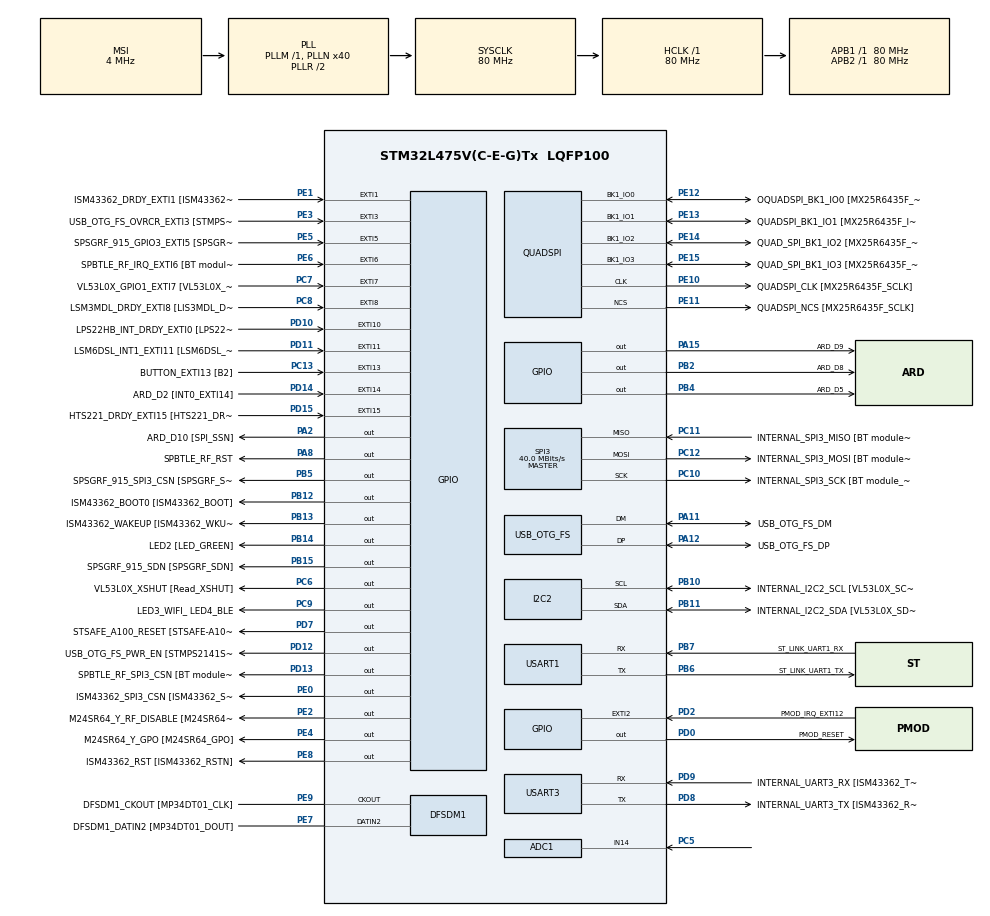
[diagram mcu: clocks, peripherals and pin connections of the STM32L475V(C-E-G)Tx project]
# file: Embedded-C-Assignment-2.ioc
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ADC1.Channel-3\#ChannelRegularConversion=ADC_CHANNEL_14
ADC1.NbrOfConversionFlag=1
ADC1.OffsetNumber-3\#ChannelRegularConversion=ADC_OFFSET_NONE
ADC1.Rank-3\#ChannelRegularConversion=1
ADC1.SamplingTime-3\#ChannelRegularConversion=ADC_SAMPLETIME_2CYCLES_5
ADC1.master=1
Mcu.Family=STM32L4
Mcu.Name=STM32L475V(C-E-G)Tx
Mcu.Package=LQFP100
NVIC.EXTI15_10_IRQn=true\:0\:0\:false\:false\:true\:true\:true\:true
NVIC.EXTI9_5_IRQn=true\:0\:0\:false\:false\:true\:true\:true\:true
NVIC.PriorityGroup=NVIC_PRIORITYGROUP_4
PA10.GPIO_Label=USB_OTG_FS_ID
PA10.Signal=USB_OTG_FS_ID
PA11.GPIO_Label=USB_OTG_FS_DM
PA11.Mode=Device_Only
PA11.Signal=USB_OTG_FS_DM
PA12.GPIO_Label=USB_OTG_FS_DP
PA12.Mode=Device_Only
PA12.Signal=USB_OTG_FS_DP
PA13\ (JTMS-SWDIO).GPIO_Label=SYS_JTMS_SWDIO
PA13\ (JTMS-SWDIO).Mode=Serial_Wire
PA13\ (JTMS-SWDIO).Signal=SYS_JTMS-SWDIO
PA14\ (JTCK-SWCLK).GPIO_Label=SYS_JTCK_SWCLK
PA14\ (JTCK-SWCLK).Mode=Serial_Wire
PA14\ (JTCK-SWCLK).Signal=SYS_JTCK-SWCLK
PA15\ (JTDI).GPIO_Label=ARD_D9
PA15\ (JTDI).Signal=GPIO_Output
PA2.GPIO_Label=ARD_D10 [SPI_SSN]
PA2.Signal=GPIO_Output
PA3.GPIO_Label=ARD_D4
PA3.Signal=S_TIM2_CH4
PA4.GPIO_Label=ARD_D7
PA4.Signal=ADCx_IN9
PA5.GPIO_Label=ARD_D13 [SPI1_SCK]
PA5.Signal=SPI1_SCK
PA6.GPIO_Label=ARD_D12 [SPI1_MISO]
PA6.Signal=SPI1_MISO
PA7.GPIO_Label=ARD_D11 [SPI1_MOSI]
PA7.Signal=SPI1_MOSI
PA8.GPIO_Label=SPBTLE_RF_RST
PA8.Signal=GPIO_Output
PA9.GPIO_Label=USB_OTG_FS_VBUS [STMPS2141STR_OUT]
PA9.Signal=USB_OTG_FS_VBUS
PB1.GPIO_Label=ARD_D6 [ADC1_IN6]
PB1.Signal=ADCx_IN16
PB10.GPIO_Label=INTERNAL_I2C2_SCL [VL53L0X_SCL]
PB10.GPIO_Pu=GPIO_PULLUP
PB10.Mode=I2C
PB10.Signal=I2C2_SCL
PB11.GPIO_Label=INTERNAL_I2C2_SDA [VL53L0X_SDA]
PB11.GPIO_Pu=GPIO_PULLUP
PB11.Mode=I2C
PB11.Signal=I2C2_SDA
PB12.GPIO_Label=ISM43362_BOOT0 [ISM43362_BOOT]
PB12.Signal=GPIO_Output
PB13.GPIO_Label=ISM43362_WAKEUP [ISM43362_WKUP]
PB13.Signal=GPIO_Output
PB14.GPIO_Label=LED2 [LED_GREEN]
PB14.Signal=GPIO_Output
PB15.GPIO_Label=SPSGRF_915_SDN [SPSGRF_SDN]
PB15.Signal=GPIO_Output
PB2.GPIO_Label=ARD_D8
PB2.Signal=GPIO_Output
PB3\ (JTDO-TRACESWO).GPIO_Label=SYS_JTD0_SWO
PB3\ (JTDO-TRACESWO).Signal=SYS_JTDO-SWO
PB4\ (NJTRST).GPIO_Label=ARD_D5
PB4\ (NJTRST).Signal=GPIO_Output
PB5.GPIO_Label=SPSGRF_915_SPI3_CSN [SPSGRF_SPI_CS]
PB5.PinState=GPIO_PIN_SET
PB5.Signal=GPIO_Output
PB6.GPIO_Label=ST_LINK_UART1_TX
PB6.Mode=Asynchronous
PB6.Signal=USART1_TX
PB7.GPIO_Label=ST_LINK_UART1_RX
PB7.Mode=Asynchronous
PB7.Signal=USART1_RX
PB8.GPIO_Label=ARD_D15 [I2C1_SCL]
PB8.Signal=I2C1_SCL
PB9.GPIO_Label=ARD_D14 [I2C1_SDA]
PB9.Signal=I2C1_SDA
PC0.GPIO_Label=ARD_A5 [ADC]
PC0.Signal=ADCx_IN1
PC1.GPIO_Label=ARD_A4 [ADC]
PC1.Signal=ADCx_IN2
PC10.GPIO_Label=INTERNAL_SPI3_SCK [BT module_SPI_SCLK] [ISM43362_SCK]
PC10.Mode=Full_Duplex_Master
PC10.Signal=SPI3_SCK
PC11.GPIO_Label=INTERNAL_SPI3_MISO [BT module_SPI_MISO] [ISM43362_MISO]
PC11.Mode=Full_Duplex_Master
PC11.Signal=SPI3_MISO
PC12.GPIO_Label=INTERNAL_SPI3_MOSI [BT module_SPI_MOSI] [ISM43362_MOSI]
PC12.Mode=Full_Duplex_Master
PC12.Signal=SPI3_MOSI
PC13.GPIO_Label=BUTTON_EXTI13 [B2]
PC13.GPIO_ModeDefaultEXTI=GPIO_MODE_IT_FALLING
PC13.Signal=GPXTI13
PC14-OSC32_IN\ (PC14).Mode=LSE-External-Oscillator
PC14-OSC32_IN\ (PC14).Signal=RCC_OSC32_IN
PC15-OSC32_OUT\ (PC15).Mode=LSE-External-Oscillator
PC15-OSC32_OUT\ (PC15).Signal=RCC_OSC32_OUT
PC2.GPIO_Label=ARD_A3 [ADC]
PC2.Signal=ADCx_IN3
PC3.GPIO_Label=ARD_A2 [ADC]
PC3.Signal=ADCx_IN4
PC4.Signal=ADCx_IN13
PC5.Signal=ADCx_IN14
PC6.GPIO_Label=VL53L0X_XSHUT [Read_XSHUT]
PC6.Signal=GPIO_Output
PC7.GPIO_Label=VL53L0X_GPIO1_EXTI7 [VL53L0X_GPIO1]
PC7.Signal=GPXTI7
PC8.GPIO_Label=LSM3MDL_DRDY_EXTI8 [LIS3MDL_DRDY]
PC8.Signal=GPXTI8
PC9.GPIO_Label=LED3_WIFI_ LED4_BLE
PC9.Signal=GPIO_Output
PD0.GPIO_Label=PMOD_RESET
PD0.Signal=GPIO_Output
PD1.GPIO_Label=PMOD_SPI2_SCK
PD1.Signal=SPI2_SCK
PD10.GPIO_Label=LPS22HB_INT_DRDY_EXTI0 [LPS22HB_INT_DRDY] 
PD10.Signal=GPXTI10
PD11.GPIO_Label=LSM6DSL_INT1_EXTI11 [LSM6DSL_INT1]
PD11.Signal=GPXTI11
PD12.GPIO_Label=USB_OTG_FS_PWR_EN [STMPS2141STR_EN]
PD12.Signal=GPIO_Output
PD13.GPIO_Label=SPBTLE_RF_SPI3_CSN [BT module_SPI_CS]
PD13.PinState=GPIO_PIN_SET
PD13.Signal=GPIO_Output
PD14.GPIO_Label=ARD_D2 [INT0_EXTI14]
PD14.Signal=GPXTI14
PD15.GPIO_Label=HTS221_DRDY_EXTI15 [HTS221_DRDY]
PD15.Signal=GPXTI15
PD2.GPIO_Label=PMOD_IRQ_EXTI12
PD2.Signal=GPXTI2
PD3.GPIO_Label=PMOD_UART2_CTS
PD3.Signal=USART2_CTS
PD4.GPIO_Label=PMOD_UART2_RTS
PD4.Signal=USART2_RTS
PD5.GPIO_Label=PMOD_UART2_TX
PD5.Signal=USART2_TX
PD6.GPIO_Label=PMOD_UART2_RX
PD6.Signal=USART2_RX
PD7.GPIO_Label=STSAFE_A100_RESET [STSAFE-A100_RESET]
PD7.Signal=GPIO_Output
PD8.GPIO_Label=INTERNAL_UART3_TX [ISM43362_RX]
PD8.Mode=Asynchronous
PD8.Signal=USART3_TX
PD9.GPIO_Label=INTERNAL_UART3_RX [ISM43362_TX]
PD9.Mode=Asynchronous
PD9.Signal=USART3_RX
PE0.GPIO_Label=ISM43362_SPI3_CSN [ISM43362_SSN]
PE0.PinState=GPIO_PIN_SET
PE0.Signal=GPIO_Output
PE1.GPIO_Label=ISM43362_DRDY_EXTI1 [ISM43362_DATARDY]
PE1.Signal=GPXTI1
PE10.GPIO_Label=QUADSPI_CLK [MX25R6435F_SCLK]
PE10.Mode=Single Bank
PE10.Signal=QUADSPI_CLK
PE11.GPIO_Label=QUADSPI_NCS [MX25R6435F_SCLK]
PE11.Mode=Single Bank
PE11.Signal=QUADSPI_NCS
PE12.GPIO_Label=OQUADSPI_BK1_IO0 [MX25R6435F_IO0]
PE12.Mode=Single Bank
PE12.Signal=QUADSPI_BK1_IO0
PE13.GPIO_Label=QUADSPI_BK1_IO1 [MX25R6435F_IO1]
PE13.Mode=Single Bank
PE13.Signal=QUADSPI_BK1_IO1
PE14.GPIO_Label=QUAD_SPI_BK1_IO2 [MX25R6435F_IO2]
PE14.Mode=Single Bank
PE14.Signal=QUADSPI_BK1_IO2
PE15.GPIO_Label=QUAD_SPI_BK1_IO3 [MX25R6435F_IO3]
PE15.Mode=Single Bank
PE15.Signal=QUADSPI_BK1_IO3
PE2.GPIO_Label=M24SR64_Y_RF_DISABLE [M24SR64_RFDIS]
PE2.Signal=GPIO_Output
PE3.GPIO_Label=USB_OTG_FS_OVRCR_EXTI3 [STMPS2141STR_FAULT]
PE3.Signal=GPXTI3
PE4.GPIO_Label=M24SR64_Y_GPO [M24SR64_GPO]
PE4.Signal=GPIO_Output
PE5.GPIO_Label=SPSGRF_915_GPIO3_EXTI5 [SPSGRF_GPIO_3]
PE5.Signal=GPXTI5
PE6.GPIO_Label=SPBTLE_RF_IRQ_EXTI6 [BT module_SPI_IRQ]
PE6.Signal=GPXTI6
PE7.GPIO_Label=DFSDM1_DATIN2 [MP34DT01_DOUT]
PE7.Signal=S_DATAIN2DFSDM1
PE8.GPIO_Label=ISM43362_RST [ISM43362_RSTN]
PE8.Signal=GPIO_Output
PE9.GPIO_Label=DFSDM1_CKOUT [MP34DT01_CLK]
PE9.Signal=S_CKOUTDFSDM1
ProjectManager.HeapSize=0x200
ProjectManager.StackSize=0x400
ProjectManager.TargetToolchain=STM32CubeIDE
QUADSPI.ClockPrescaler=2
QUADSPI.FifoThreshold=4
QUADSPI.FlashSize=23
QUADSPI.SampleShifting=QSPI_SAMPLE_SHIFTING_HALFCYCLE
RCC.ADCFreq_Value=48000000
RCC.AHBFreq_Value=80000000
RCC.APB1Freq_Value=80000000
RCC.APB1TimFreq_Value=80000000
RCC.APB2Freq_Value=80000000
RCC.APB2TimFreq_Value=80000000
RCC.CortexFreq_Value=80000000
RCC.HCLKFreq_Value=80000000
RCC.HSE_VALUE=8000000
RCC.HSI_VALUE=16000000
RCC.MSI_VALUE=4000000
RCC.PLLN=40
RCC.PLLSAI1N=24
RCC.SYSCLKFreq_VALUE=80000000
RCC.SYSCLKSource=RCC_SYSCLKSOURCE_PLLCLK
RCC.USBFreq_Value=48000000
RCC.VCOOutputFreq_Value=160000000
SH.ADCx_IN1.0=ADC1_IN1
SH.ADCx_IN13.0=ADC1_IN13
SH.ADCx_IN14.0=ADC1_IN14,IN14-Single-Ended
SH.ADCx_IN16.0=ADC1_IN16
SH.ADCx_IN2.0=ADC1_IN2
SH.ADCx_IN3.0=ADC1_IN3
SH.ADCx_IN4.0=ADC1_IN4
SH.ADCx_IN9.0=ADC1_IN9
SH.S_CKOUTDFSDM1.0=DFSDM1_CKOUT,CKOUT
SH.S_CKOUTDFSDM1.1=DFSDM1_CKOUT,PDM_SPI_Input_from_ch12_and_Internal_Clock
SH.S_DATAIN2DFSDM1.0=DFSDM1_DATIN2,PDM_SPI_Input_from_ch12_and_Internal_Clock
SH.S_TIM2_CH4.0=TIM2_CH4
SPI3.CalculateBaudRate=40.0 MBits/s
SPI3.Direction=SPI_DIRECTION_2LINES
SPI3.Mode=SPI_MODE_MASTER
SPI3.VirtualType=VM_MASTER
USART1.VirtualMode-Asynchronous=VM_ASYNC
USART3.VirtualMode-Asynchronous=VM_ASYNC
USB_OTG_FS.VirtualMode=Device_Only
board=B-L475E-IOT01A2

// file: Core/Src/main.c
/* USER CODE BEGIN Header */
/**
  ******************************************************************************
  * @file           : main.c
  * @brief          : Main program body
  ******************************************************************************
  * @attention
  *
  * Copyright (c) 2023 STMicroelectronics.
  * All rights reserved.
  *
  * This software is licensed under terms that can be found in the LICENSE file
  * in the root directory of this software component.
  * If no LICENSE file comes with this software, it is provided AS-IS.
  *
  ******************************************************************************
  */
/* USER CODE END Header */
#include "main.h"

/* USER CODE BEGIN Includes */
#include <stdio.h>
#include <string.h>
/* USER CODE END Includes */

ADC_HandleTypeDef hadc1;

DFSDM_Channel_HandleTypeDef hdfsdm1_channel1;

I2C_HandleTypeDef hi2c2;

QSPI_HandleTypeDef hqspi;

SPI_HandleTypeDef hspi3;

UART_HandleTypeDef huart1;
UART_HandleTypeDef huart3;

PCD_HandleTypeDef hpcd_USB_OTG_FS;

void SystemClock_Config(void);
void PeriphCommonClock_Config(void);
static void MX_GPIO_Init(void);
static void MX_DFSDM1_Init(void);
static void MX_I2C2_Init(void);
static void MX_QUADSPI_Init(void);
static void MX_SPI3_Init(void);
static void MX_USART1_UART_Init(void);
static void MX_USART3_UART_Init(void);
static void MX_USB_OTG_FS_PCD_Init(void);
static void MX_ADC1_Init(void);

/* USER CODE BEGIN 0 */
uint16_t find_max(uint16_t arr[], uint8_t size)
{
	int max = arr[0];
	for(int i = 0; i < size; i++){
		if(arr[i] > max){
			max = arr[i];
		}
	}
	return max;
}

uint16_t find_min(uint16_t arr[], uint8_t size)
{
	int min = arr[0];
	for(int i = 0; i < size; i++){
		if(arr[i] < min){
			min = arr[i];
		}
	}
	return min;
}

/* USER CODE END 0 */

int main(void)
{

  /* MCU Configuration--------------------------------------------------------*/

  /* Reset of all peripherals, Initializes the Flash interface and the Systick. */
  HAL_Init();

  /* Configure the system clock */
  SystemClock_Config();

/* Configure the peripherals common clocks */
  PeriphCommonClock_Config();

  /* Initialize all configured peripherals */
  MX_GPIO_Init();
  MX_DFSDM1_Init();
  MX_I2C2_Init();
  MX_QUADSPI_Init();
  MX_SPI3_Init();
  MX_USART1_UART_Init();
  MX_USART3_UART_Init();
  MX_USB_OTG_FS_PCD_Init();
  MX_ADC1_Init();
  /* USER CODE BEGIN 2 */
  HAL_ADCEx_Calibration_Start(&hadc1, ADC_SINGLE_ENDED);
  /* USER CODE END 2 */

  /* Infinite loop */
  while (1)
  {

    /* USER CODE BEGIN 3 */
	HAL_GPIO_TogglePin(LED3_WIFI__LED4_BLE_GPIO_Port, LED3_WIFI__LED4_BLE_Pin);
	HAL_Delay(1000);

	uint16_t value[12];
	uint16_t value_sum = 0;

	// Poll 12 times
	for(int i = 0; i < 12; i++)
	{
		// ADC start conversion
		HAL_ADC_Start(&hadc1);
		// Poll for results, timeout is 10 us
		HAL_ADC_PollForConversion(&hadc1, 10);
		value[i] = HAL_ADC_GetValue(&hadc1);
		value_sum += value[i];
	}

	// Sum of value array minus the max and min value
	float value_avg = (float)(value_sum - find_max(value, 12) - find_min(value, 12)) / 10;

	float voltage = value_avg * (3.3 / 4096);

	// Send value to console
	char buf[100];
    snprintf(buf, sizeof(buf), "ARD-A0: raw: %f, volts: %f\r\n", value_avg, voltage);

    HAL_UART_Transmit(&huart1, (uint8_t*)buf, strlen(buf), 1000);

  }
  /* USER CODE END 3 */
}

void SystemClock_Config(void)
{
  RCC_OscInitTypeDef RCC_OscInitStruct = {0};
  RCC_ClkInitTypeDef RCC_ClkInitStruct = {0};

  /** Configure the main internal regulator output voltage
  */
  if (HAL_PWREx_ControlVoltageScaling(PWR_REGULATOR_VOLTAGE_SCALE1) != HAL_OK)
  {
    Error_Handler();
  }

  /** Configure LSE Drive Capability
  */
  HAL_PWR_EnableBkUpAccess();
  __HAL_RCC_LSEDRIVE_CONFIG(RCC_LSEDRIVE_LOW);

  /** Initializes the RCC Oscillators according to the specified parameters
  * in the RCC_OscInitTypeDef structure.
  */
  RCC_OscInitStruct.OscillatorType = RCC_OSCILLATORTYPE_LSE|RCC_OSCILLATORTYPE_MSI;
  RCC_OscInitStruct.LSEState = RCC_LSE_ON;
  RCC_OscInitStruct.MSIState = RCC_MSI_ON;
  RCC_OscInitStruct.MSICalibrationValue = 0;
  RCC_OscInitStruct.MSIClockRange = RCC_MSIRANGE_6;
  RCC_OscInitStruct.PLL.PLLState = RCC_PLL_ON;
  RCC_OscInitStruct.PLL.PLLSource = RCC_PLLSOURCE_MSI;
  RCC_OscInitStruct.PLL.PLLM = 1;
  RCC_OscInitStruct.PLL.PLLN = 40;
  RCC_OscInitStruct.PLL.PLLP = RCC_PLLP_DIV7;
  RCC_OscInitStruct.PLL.PLLQ = RCC_PLLQ_DIV2;
  RCC_OscInitStruct.PLL.PLLR = RCC_PLLR_DIV2;
  if (HAL_RCC_OscConfig(&RCC_OscInitStruct) != HAL_OK)
  {
    Error_Handler();
  }

  /** Initializes the CPU, AHB and APB buses clocks
  */
  RCC_ClkInitStruct.ClockType = RCC_CLOCKTYPE_HCLK|RCC_CLOCKTYPE_SYSCLK
                              |RCC_CLOCKTYPE_PCLK1|RCC_CLOCKTYPE_PCLK2;
  RCC_ClkInitStruct.SYSCLKSource = RCC_SYSCLKSOURCE_PLLCLK;
  RCC_ClkInitStruct.AHBCLKDivider = RCC_SYSCLK_DIV1;
  RCC_ClkInitStruct.APB1CLKDivider = RCC_HCLK_DIV1;
  RCC_ClkInitStruct.APB2CLKDivider = RCC_HCLK_DIV1;

  if (HAL_RCC_ClockConfig(&RCC_ClkInitStruct, FLASH_LATENCY_4) != HAL_OK)
  {
    Error_Handler();
  }

  /** Enable MSI Auto calibration
  */
  HAL_RCCEx_EnableMSIPLLMode();
}

void PeriphCommonClock_Config(void)
{
  RCC_PeriphCLKInitTypeDef PeriphClkInit = {0};

  /** Initializes the peripherals clock
  */
  PeriphClkInit.PeriphClockSelection = RCC_PERIPHCLK_USB|RCC_PERIPHCLK_ADC;
  PeriphClkInit.AdcClockSelection = RCC_ADCCLKSOURCE_PLLSAI1;
  PeriphClkInit.UsbClockSelection = RCC_USBCLKSOURCE_PLLSAI1;
  PeriphClkInit.PLLSAI1.PLLSAI1Source = RCC_PLLSOURCE_MSI;
  PeriphClkInit.PLLSAI1.PLLSAI1M = 1;
  PeriphClkInit.PLLSAI1.PLLSAI1N = 24;
  PeriphClkInit.PLLSAI1.PLLSAI1P = RCC_PLLP_DIV7;
  PeriphClkInit.PLLSAI1.PLLSAI1Q = RCC_PLLQ_DIV2;
  PeriphClkInit.PLLSAI1.PLLSAI1R = RCC_PLLR_DIV2;
  PeriphClkInit.PLLSAI1.PLLSAI1ClockOut = RCC_PLLSAI1_48M2CLK|RCC_PLLSAI1_ADC1CLK;
  if (HAL_RCCEx_PeriphCLKConfig(&PeriphClkInit) != HAL_OK)
  {
    Error_Handler();
  }
}

static void MX_ADC1_Init(void)
{

  ADC_MultiModeTypeDef multimode = {0};
  ADC_ChannelConfTypeDef sConfig = {0};

  /** Common config
  */
  hadc1.Instance = ADC1;
  hadc1.Init.ClockPrescaler = ADC_CLOCK_ASYNC_DIV1;
  hadc1.Init.Resolution = ADC_RESOLUTION_12B;
  hadc1.Init.DataAlign = ADC_DATAALIGN_RIGHT;
  hadc1.Init.ScanConvMode = ADC_SCAN_DISABLE;
  hadc1.Init.EOCSelection = ADC_EOC_SINGLE_CONV;
  hadc1.Init.LowPowerAutoWait = DISABLE;
  hadc1.Init.ContinuousConvMode = DISABLE;
  hadc1.Init.NbrOfConversion = 1;
  hadc1.Init.DiscontinuousConvMode = DISABLE;
  hadc1.Init.ExternalTrigConv = ADC_SOFTWARE_START;
  hadc1.Init.ExternalTrigConvEdge = ADC_EXTERNALTRIGCONVEDGE_NONE;
  hadc1.Init.DMAContinuousRequests = DISABLE;
  hadc1.Init.Overrun = ADC_OVR_DATA_PRESERVED;
  hadc1.Init.OversamplingMode = DISABLE;
  if (HAL_ADC_Init(&hadc1) != HAL_OK)
  {
    Error_Handler();
  }

  /** Configure the ADC multi-mode
  */
  multimode.Mode = ADC_MODE_INDEPENDENT;
  if (HAL_ADCEx_MultiModeConfigChannel(&hadc1, &multimode) != HAL_OK)
  {
    Error_Handler();
  }

  /** Configure Regular Channel
  */
  sConfig.Channel = ADC_CHANNEL_14;
  sConfig.Rank = ADC_REGULAR_RANK_1;
  sConfig.SamplingTime = ADC_SAMPLETIME_2CYCLES_5;
  sConfig.SingleDiff = ADC_SINGLE_ENDED;
  sConfig.OffsetNumber = ADC_OFFSET_NONE;
  sConfig.Offset = 0;
  if (HAL_ADC_ConfigChannel(&hadc1, &sConfig) != HAL_OK)
  {
    Error_Handler();
  }

}

static void MX_DFSDM1_Init(void)
{

  hdfsdm1_channel1.Instance = DFSDM1_Channel1;
  hdfsdm1_channel1.Init.OutputClock.Activation = ENABLE;
  hdfsdm1_channel1.Init.OutputClock.Selection = DFSDM_CHANNEL_OUTPUT_CLOCK_SYSTEM;
  hdfsdm1_channel1.Init.OutputClock.Divider = 2;
  hdfsdm1_channel1.Init.Input.Multiplexer = DFSDM_CHANNEL_EXTERNAL_INPUTS;
  hdfsdm1_channel1.Init.Input.DataPacking = DFSDM_CHANNEL_STANDARD_MODE;
  hdfsdm1_channel1.Init.Input.Pins = DFSDM_CHANNEL_FOLLOWING_CHANNEL_PINS;
  hdfsdm1_channel1.Init.SerialInterface.Type = DFSDM_CHANNEL_SPI_RISING;
  hdfsdm1_channel1.Init.SerialInterface.SpiClock = DFSDM_CHANNEL_SPI_CLOCK_INTERNAL;
  hdfsdm1_channel1.Init.Awd.FilterOrder = DFSDM_CHANNEL_FASTSINC_ORDER;
  hdfsdm1_channel1.Init.Awd.Oversampling = 1;
  hdfsdm1_channel1.Init.Offset = 0;
  hdfsdm1_channel1.Init.RightBitShift = 0x00;
  if (HAL_DFSDM_ChannelInit(&hdfsdm1_channel1) != HAL_OK)
  {
    Error_Handler();
  }

}

static void MX_I2C2_Init(void)
{

  hi2c2.Instance = I2C2;
  hi2c2.Init.Timing = 0x00000E14;
  hi2c2.Init.OwnAddress1 = 0;
  hi2c2.Init.AddressingMode = I2C_ADDRESSINGMODE_7BIT;
  hi2c2.Init.DualAddressMode = I2C_DUALADDRESS_DISABLE;
  hi2c2.Init.OwnAddress2 = 0;
  hi2c2.Init.OwnAddress2Masks = I2C_OA2_NOMASK;
  hi2c2.Init.GeneralCallMode = I2C_GENERALCALL_DISABLE;
  hi2c2.Init.NoStretchMode = I2C_NOSTRETCH_DISABLE;
  if (HAL_I2C_Init(&hi2c2) != HAL_OK)
  {
    Error_Handler();
  }

  /** Configure Analogue filter
  */
  if (HAL_I2CEx_ConfigAnalogFilter(&hi2c2, I2C_ANALOGFILTER_ENABLE) != HAL_OK)
  {
    Error_Handler();
  }

  /** Configure Digital filter
  */
  if (HAL_I2CEx_ConfigDigitalFilter(&hi2c2, 0) != HAL_OK)
  {
    Error_Handler();
  }

}

static void MX_QUADSPI_Init(void)
{

  /* QUADSPI parameter configuration*/
  hqspi.Instance = QUADSPI;
  hqspi.Init.ClockPrescaler = 2;
  hqspi.Init.FifoThreshold = 4;
  hqspi.Init.SampleShifting = QSPI_SAMPLE_SHIFTING_HALFCYCLE;
  hqspi.Init.FlashSize = 23;
  hqspi.Init.ChipSelectHighTime = QSPI_CS_HIGH_TIME_1_CYCLE;
  hqspi.Init.ClockMode = QSPI_CLOCK_MODE_0;
  if (HAL_QSPI_Init(&hqspi) != HAL_OK)
  {
    Error_Handler();
  }

}

static void MX_SPI3_Init(void)
{

  /* SPI3 parameter configuration*/
  hspi3.Instance = SPI3;
  hspi3.Init.Mode = SPI_MODE_MASTER;
  hspi3.Init.Direction = SPI_DIRECTION_2LINES;
  hspi3.Init.DataSize = SPI_DATASIZE_4BIT;
  hspi3.Init.CLKPolarity = SPI_POLARITY_LOW;
  hspi3.Init.CLKPhase = SPI_PHASE_1EDGE;
  hspi3.Init.NSS = SPI_NSS_SOFT;
  hspi3.Init.BaudRatePrescaler = SPI_BAUDRATEPRESCALER_2;
  hspi3.Init.FirstBit = SPI_FIRSTBIT_MSB;
  hspi3.Init.TIMode = SPI_TIMODE_DISABLE;
  hspi3.Init.CRCCalculation = SPI_CRCCALCULATION_DISABLE;
  hspi3.Init.CRCPolynomial = 7;
  hspi3.Init.CRCLength = SPI_CRC_LENGTH_DATASIZE;
  hspi3.Init.NSSPMode = SPI_NSS_PULSE_ENABLE;
  if (HAL_SPI_Init(&hspi3) != HAL_OK)
  {
    Error_Handler();
  }

}

static void MX_USART1_UART_Init(void)
{

  huart1.Instance = USART1;
  huart1.Init.BaudRate = 115200;
  huart1.Init.WordLength = UART_WORDLENGTH_8B;
  huart1.Init.StopBits = UART_STOPBITS_1;
  huart1.Init.Parity = UART_PARITY_NONE;
  huart1.Init.Mode = UART_MODE_TX_RX;
  huart1.Init.HwFlowCtl = UART_HWCONTROL_NONE;
  huart1.Init.OverSampling = UART_OVERSAMPLING_16;
  huart1.Init.OneBitSampling = UART_ONE_BIT_SAMPLE_DISABLE;
  huart1.AdvancedInit.AdvFeatureInit = UART_ADVFEATURE_NO_INIT;
  if (HAL_UART_Init(&huart1) != HAL_OK)
  {
    Error_Handler();
  }

}

static void MX_USART3_UART_Init(void)
{

  huart3.Instance = USART3;
  huart3.Init.BaudRate = 115200;
  huart3.Init.WordLength = UART_WORDLENGTH_8B;
  huart3.Init.StopBits = UART_STOPBITS_1;
  huart3.Init.Parity = UART_PARITY_NONE;
  huart3.Init.Mode = UART_MODE_TX_RX;
  huart3.Init.HwFlowCtl = UART_HWCONTROL_NONE;
  huart3.Init.OverSampling = UART_OVERSAMPLING_16;
  huart3.Init.OneBitSampling = UART_ONE_BIT_SAMPLE_DISABLE;
  huart3.AdvancedInit.AdvFeatureInit = UART_ADVFEATURE_NO_INIT;
  if (HAL_UART_Init(&huart3) != HAL_OK)
  {
    Error_Handler();
  }

}

static void MX_USB_OTG_FS_PCD_Init(void)
{

  hpcd_USB_OTG_FS.Instance = USB_OTG_FS;
  hpcd_USB_OTG_FS.Init.dev_endpoints = 6;
  hpcd_USB_OTG_FS.Init.speed = PCD_SPEED_FULL;
  hpcd_USB_OTG_FS.Init.phy_itface = PCD_PHY_EMBEDDED;
  hpcd_USB_OTG_FS.Init.Sof_enable = DISABLE;
  hpcd_USB_OTG_FS.Init.low_power_enable = DISABLE;
  hpcd_USB_OTG_FS.Init.lpm_enable = DISABLE;
  hpcd_USB_OTG_FS.Init.battery_charging_enable = DISABLE;
  hpcd_USB_OTG_FS.Init.use_dedicated_ep1 = DISABLE;
  hpcd_USB_OTG_FS.Init.vbus_sensing_enable = DISABLE;
  if (HAL_PCD_Init(&hpcd_USB_OTG_FS) != HAL_OK)
  {
    Error_Handler();
  }

}

static void MX_GPIO_Init(void)
{
  GPIO_InitTypeDef GPIO_InitStruct = {0};

  /* GPIO Ports Clock Enable */
  __HAL_RCC_GPIOE_CLK_ENABLE();
  __HAL_RCC_GPIOC_CLK_ENABLE();
  __HAL_RCC_GPIOA_CLK_ENABLE();
  __HAL_RCC_GPIOB_CLK_ENABLE();
  __HAL_RCC_GPIOD_CLK_ENABLE();

  /*Configure GPIO pin Output Level */
  HAL_GPIO_WritePin(GPIOE, M24SR64_Y_RF_DISABLE_Pin|M24SR64_Y_GPO_Pin|ISM43362_RST_Pin, GPIO_PIN_RESET);

  /*Configure GPIO pin Output Level */
  HAL_GPIO_WritePin(GPIOA, ARD_D10_Pin|SPBTLE_RF_RST_Pin|ARD_D9_Pin, GPIO_PIN_RESET);

  /*Configure GPIO pin Output Level */
  HAL_GPIO_WritePin(GPIOB, ARD_D8_Pin|ISM43362_BOOT0_Pin|ISM43362_WAKEUP_Pin|LED2_Pin
                          |SPSGRF_915_SDN_Pin|ARD_D5_Pin, GPIO_PIN_RESET);

  /*Configure GPIO pin Output Level */
  HAL_GPIO_WritePin(GPIOD, USB_OTG_FS_PWR_EN_Pin|PMOD_RESET_Pin|STSAFE_A100_RESET_Pin, GPIO_PIN_RESET);

  /*Configure GPIO pin Output Level */
  HAL_GPIO_WritePin(SPBTLE_RF_SPI3_CSN_GPIO_Port, SPBTLE_RF_SPI3_CSN_Pin, GPIO_PIN_SET);

  /*Configure GPIO pin Output Level */
  HAL_GPIO_WritePin(GPIOC, VL53L0X_XSHUT_Pin|LED3_WIFI__LED4_BLE_Pin, GPIO_PIN_RESET);

  /*Configure GPIO pin Output Level */
  HAL_GPIO_WritePin(SPSGRF_915_SPI3_CSN_GPIO_Port, SPSGRF_915_SPI3_CSN_Pin, GPIO_PIN_SET);

  /*Configure GPIO pin Output Level */
  HAL_GPIO_WritePin(ISM43362_SPI3_CSN_GPIO_Port, ISM43362_SPI3_CSN_Pin, GPIO_PIN_SET);

  /*Configure GPIO pins : M24SR64_Y_RF_DISABLE_Pin M24SR64_Y_GPO_Pin ISM43362_RST_Pin ISM43362_SPI3_CSN_Pin */
  GPIO_InitStruct.Pin = M24SR64_Y_RF_DISABLE_Pin|M24SR64_Y_GPO_Pin|ISM43362_RST_Pin|ISM43362_SPI3_CSN_Pin;
  GPIO_InitStruct.Mode = GPIO_MODE_OUTPUT_PP;
  GPIO_InitStruct.Pull = GPIO_NOPULL;
  GPIO_InitStruct.Speed = GPIO_SPEED_FREQ_LOW;
  HAL_GPIO_Init(GPIOE, &GPIO_InitStruct);

  /*Configure GPIO pins : USB_OTG_FS_OVRCR_EXTI3_Pin SPSGRF_915_GPIO3_EXTI5_Pin SPBTLE_RF_IRQ_EXTI6_Pin ISM43362_DRDY_EXTI1_Pin */
  GPIO_InitStruct.Pin = USB_OTG_FS_OVRCR_EXTI3_Pin|SPSGRF_915_GPIO3_EXTI5_Pin|SPBTLE_RF_IRQ_EXTI6_Pin|ISM43362_DRDY_EXTI1_Pin;
  GPIO_InitStruct.Mode = GPIO_MODE_IT_RISING;
  GPIO_InitStruct.Pull = GPIO_NOPULL;
  HAL_GPIO_Init(GPIOE, &GPIO_InitStruct);

  /*Configure GPIO pin : BUTTON_EXTI13_Pin */
  GPIO_InitStruct.Pin = BUTTON_EXTI13_Pin;
  GPIO_InitStruct.Mode = GPIO_MODE_IT_FALLING;
  GPIO_InitStruct.Pull = GPIO_NOPULL;
  HAL_GPIO_Init(BUTTON_EXTI13_GPIO_Port, &GPIO_InitStruct);

  /*Configure GPIO pins : ARD_D10_Pin SPBTLE_RF_RST_Pin ARD_D9_Pin */
  GPIO_InitStruct.Pin = ARD_D10_Pin|SPBTLE_RF_RST_Pin|ARD_D9_Pin;
  GPIO_InitStruct.Mode = GPIO_MODE_OUTPUT_PP;
  GPIO_InitStruct.Pull = GPIO_NOPULL;
  GPIO_InitStruct.Speed = GPIO_SPEED_FREQ_LOW;
  HAL_GPIO_Init(GPIOA, &GPIO_InitStruct);

  /*Configure GPIO pin : ARD_D4_Pin */
  GPIO_InitStruct.Pin = ARD_D4_Pin;
  GPIO_InitStruct.Mode = GPIO_MODE_AF_PP;
  GPIO_InitStruct.Pull = GPIO_NOPULL;
  GPIO_InitStruct.Speed = GPIO_SPEED_FREQ_LOW;
  GPIO_InitStruct.Alternate = GPIO_AF1_TIM2;
  HAL_GPIO_Init(ARD_D4_GPIO_Port, &GPIO_InitStruct);

  /*Configure GPIO pins : ARD_D13_Pin ARD_D12_Pin ARD_D11_Pin */
  GPIO_InitStruct.Pin = ARD_D13_Pin|ARD_D12_Pin|ARD_D11_Pin;
  GPIO_InitStruct.Mode = GPIO_MODE_AF_PP;
  GPIO_InitStruct.Pull = GPIO_NOPULL;
  GPIO_InitStruct.Speed = GPIO_SPEED_FREQ_VERY_HIGH;
  GPIO_InitStruct.Alternate = GPIO_AF5_SPI1;
  HAL_GPIO_Init(GPIOA, &GPIO_InitStruct);

  /*Configure GPIO pins : ARD_D8_Pin ISM43362_BOOT0_Pin ISM43362_WAKEUP_Pin LED2_Pin
                           SPSGRF_915_SDN_Pin ARD_D5_Pin SPSGRF_915_SPI3_CSN_Pin */
  GPIO_InitStruct.Pin = ARD_D8_Pin|ISM43362_BOOT0_Pin|ISM43362_WAKEUP_Pin|LED2_Pin
                          |SPSGRF_915_SDN_Pin|ARD_D5_Pin|SPSGRF_915_SPI3_CSN_Pin;
  GPIO_InitStruct.Mode = GPIO_MODE_OUTPUT_PP;
  GPIO_InitStruct.Pull = GPIO_NOPULL;
  GPIO_InitStruct.Speed = GPIO_SPEED_FREQ_LOW;
  HAL_GPIO_Init(GPIOB, &GPIO_InitStruct);

  /*Configure GPIO pins : LPS22HB_INT_DRDY_EXTI0_Pin LSM6DSL_INT1_EXTI11_Pin ARD_D2_Pin HTS221_DRDY_EXTI15_Pin
                           PMOD_IRQ_EXTI12_Pin */
  GPIO_InitStruct.Pin = LPS22HB_INT_DRDY_EXTI0_Pin|LSM6DSL_INT1_EXTI11_Pin|ARD_D2_Pin|HTS221_DRDY_EXTI15_Pin
                          |PMOD_IRQ_EXTI12_Pin;
  GPIO_InitStruct.Mode = GPIO_MODE_IT_RISING;
  GPIO_InitStruct.Pull = GPIO_NOPULL;
  HAL_GPIO_Init(GPIOD, &GPIO_InitStruct);

  /*Configure GPIO pins : USB_OTG_FS_PWR_EN_Pin SPBTLE_RF_SPI3_CSN_Pin PMOD_RESET_Pin STSAFE_A100_RESET_Pin */
  GPIO_InitStruct.Pin = USB_OTG_FS_PWR_EN_Pin|SPBTLE_RF_SPI3_CSN_Pin|PMOD_RESET_Pin|STSAFE_A100_RESET_Pin;
  GPIO_InitStruct.Mode = GPIO_MODE_OUTPUT_PP;
  GPIO_InitStruct.Pull = GPIO_NOPULL;
  GPIO_InitStruct.Speed = GPIO_SPEED_FREQ_LOW;
  HAL_GPIO_Init(GPIOD, &GPIO_InitStruct);

  /*Configure GPIO pins : VL53L0X_XSHUT_Pin LED3_WIFI__LED4_BLE_Pin */
  GPIO_InitStruct.Pin = VL53L0X_XSHUT_Pin|LED3_WIFI__LED4_BLE_Pin;
  GPIO_InitStruct.Mode = GPIO_MODE_OUTPUT_PP;
  GPIO_InitStruct.Pull = GPIO_NOPULL;
  GPIO_InitStruct.Speed = GPIO_SPEED_FREQ_LOW;
  HAL_GPIO_Init(GPIOC, &GPIO_InitStruct);

  /*Configure GPIO pins : VL53L0X_GPIO1_EXTI7_Pin LSM3MDL_DRDY_EXTI8_Pin */
  GPIO_InitStruct.Pin = VL53L0X_GPIO1_EXTI7_Pin|LSM3MDL_DRDY_EXTI8_Pin;
  GPIO_InitStruct.Mode = GPIO_MODE_IT_RISING;
  GPIO_InitStruct.Pull = GPIO_NOPULL;
  HAL_GPIO_Init(GPIOC, &GPIO_InitStruct);

  /*Configure GPIO pin : PMOD_SPI2_SCK_Pin */
  GPIO_InitStruct.Pin = PMOD_SPI2_SCK_Pin;
  GPIO_InitStruct.Mode = GPIO_MODE_AF_PP;
  GPIO_InitStruct.Pull = GPIO_NOPULL;
  GPIO_InitStruct.Speed = GPIO_SPEED_FREQ_VERY_HIGH;
  GPIO_InitStruct.Alternate = GPIO_AF5_SPI2;
  HAL_GPIO_Init(PMOD_SPI2_SCK_GPIO_Port, &GPIO_InitStruct);

  /*Configure GPIO pins : PMOD_UART2_CTS_Pin PMOD_UART2_RTS_Pin PMOD_UART2_TX_Pin PMOD_UART2_RX_Pin */
  GPIO_InitStruct.Pin = PMOD_UART2_CTS_Pin|PMOD_UART2_RTS_Pin|PMOD_UART2_TX_Pin|PMOD_UART2_RX_Pin;
  GPIO_InitStruct.Mode = GPIO_MODE_AF_PP;
  GPIO_InitStruct.Pull = GPIO_NOPULL;
  GPIO_InitStruct.Speed = GPIO_SPEED_FREQ_VERY_HIGH;
  GPIO_InitStruct.Alternate = GPIO_AF7_USART2;
  HAL_GPIO_Init(GPIOD, &GPIO_InitStruct);

  /*Configure GPIO pins : ARD_D15_Pin ARD_D14_Pin */
  GPIO_InitStruct.Pin = ARD_D15_Pin|ARD_D14_Pin;
  GPIO_InitStruct.Mode = GPIO_MODE_AF_OD;
  GPIO_InitStruct.Pull = GPIO_NOPULL;
  GPIO_InitStruct.Speed = GPIO_SPEED_FREQ_VERY_HIGH;
  GPIO_InitStruct.Alternate = GPIO_AF4_I2C1;
  HAL_GPIO_Init(GPIOB, &GPIO_InitStruct);

  /* EXTI interrupt init*/
  HAL_NVIC_SetPriority(EXTI9_5_IRQn, 0, 0);
  HAL_NVIC_EnableIRQ(EXTI9_5_IRQn);

  HAL_NVIC_SetPriority(EXTI15_10_IRQn, 0, 0);
  HAL_NVIC_EnableIRQ(EXTI15_10_IRQn);

}

void Error_Handler(void)
{
  __disable_irq();
  while (1)
  {
  }
}
